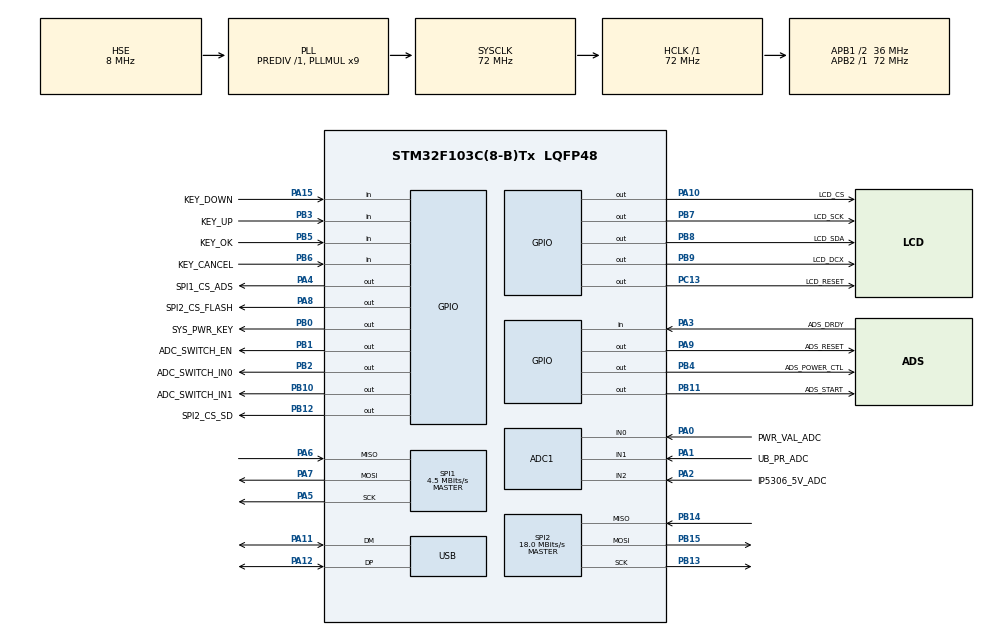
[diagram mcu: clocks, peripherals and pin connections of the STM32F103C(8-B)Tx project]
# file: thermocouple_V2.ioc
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ADC1.Channel-4\#ChannelRegularConversion=ADC_CHANNEL_0
ADC1.Channel-5\#ChannelRegularConversion=ADC_CHANNEL_1
ADC1.Channel-6\#ChannelRegularConversion=ADC_CHANNEL_2
ADC1.Channel-7\#ChannelRegularConversion=ADC_CHANNEL_TEMPSENSOR
ADC1.ContinuousConvMode=DISABLE
ADC1.DiscontinuousConvMode=ENABLE
ADC1.EnableRegularConversion=ENABLE
ADC1.NbrOfConversion=4
ADC1.NbrOfConversionFlag=1
ADC1.Rank-4\#ChannelRegularConversion=1
ADC1.Rank-5\#ChannelRegularConversion=2
ADC1.Rank-6\#ChannelRegularConversion=3
ADC1.Rank-7\#ChannelRegularConversion=4
ADC1.SamplingTime-4\#ChannelRegularConversion=ADC_SAMPLETIME_71CYCLES_5
ADC1.SamplingTime-5\#ChannelRegularConversion=ADC_SAMPLETIME_71CYCLES_5
ADC1.SamplingTime-6\#ChannelRegularConversion=ADC_SAMPLETIME_71CYCLES_5
ADC1.SamplingTime-7\#ChannelRegularConversion=ADC_SAMPLETIME_71CYCLES_5
ADC1.master=1
Mcu.Family=STM32F1
Mcu.Name=STM32F103C(8-B)Tx
Mcu.Package=LQFP48
NVIC.PriorityGroup=NVIC_PRIORITYGROUP_4
NVIC.TIM1_UP_IRQn=true\:0\:0\:false\:false\:true\:true\:true\:true
NVIC.USB_LP_CAN1_RX0_IRQn=true\:0\:0\:false\:false\:true\:false\:true\:true
PA0-WKUP.GPIO_Label=PWR_VAL_ADC
PA0-WKUP.Signal=ADCx_IN0
PA1.GPIO_Label=UB_PR_ADC
PA1.Signal=ADCx_IN1
PA10.GPIO_Label=LCD_CS
PA10.GPIO_PuPd=GPIO_PULLUP
PA10.GPIO_Speed=GPIO_SPEED_FREQ_HIGH
PA10.PinState=GPIO_PIN_SET
PA10.Signal=GPIO_Output
PA11.Mode=Device
PA11.Signal=USB_DM
PA12.Mode=Device
PA12.Signal=USB_DP
PA13.Mode=Serial_Wire
PA13.Signal=SYS_JTMS-SWDIO
PA14.Mode=Serial_Wire
PA14.Signal=SYS_JTCK-SWCLK
PA15.GPIO_Label=KEY_DOWN
PA15.GPIO_PuPd=GPIO_PULLUP
PA15.Signal=GPIO_Input
PA2.GPIO_Label=IP5306_5V_ADC
PA2.Signal=ADCx_IN2
PA3.GPIO_Label=ADS_DRDY
PA3.Signal=GPIO_Input
PA4.GPIO_Label=SPI1_CS_ADS
PA4.Signal=GPIO_Output
PA5.Mode=Full_Duplex_Master
PA5.Signal=SPI1_SCK
PA6.GPIO_PuPd=GPIO_NOPULL
PA6.Mode=Full_Duplex_Master
PA6.Signal=SPI1_MISO
PA7.Mode=Full_Duplex_Master
PA7.Signal=SPI1_MOSI
PA8.GPIO_Label=SPI2_CS_FLASH
PA8.GPIO_ModeDefaultOutputPP=GPIO_MODE_OUTPUT_PP
PA8.GPIO_PuPd=GPIO_PULLUP
PA8.GPIO_Speed=GPIO_SPEED_FREQ_HIGH
PA8.PinState=GPIO_PIN_SET
PA8.Signal=GPIO_Output
PA9.GPIO_Label=ADS_RESET
PA9.Signal=GPIO_Output
PB0.GPIO_Label=SYS_PWR_KEY
PB0.Signal=GPIO_Output
PB1.GPIO_Label=ADC_SWITCH_EN
PB1.GPIO_ModeDefaultOutputPP=GPIO_MODE_OUTPUT_PP
PB1.GPIO_PuPd=GPIO_PULLUP
PB1.GPIO_Speed=GPIO_SPEED_FREQ_LOW
PB1.Signal=GPIO_Output
PB10.GPIO_Label=ADC_SWITCH_IN1
PB10.Signal=GPIO_Output
PB11.GPIO_Label=ADS_START
PB11.Signal=GPIO_Output
PB12.GPIO_Label=SPI2_CS_SD
PB12.GPIO_ModeDefaultOutputPP=GPIO_MODE_OUTPUT_PP
PB12.GPIO_PuPd=GPIO_PULLUP
PB12.GPIO_Speed=GPIO_SPEED_FREQ_HIGH
PB12.PinState=GPIO_PIN_SET
PB12.Signal=GPIO_Output
PB13.Mode=Full_Duplex_Master
PB13.Signal=SPI2_SCK
PB14.Mode=Full_Duplex_Master
PB14.Signal=SPI2_MISO
PB15.Mode=Full_Duplex_Master
PB15.Signal=SPI2_MOSI
PB2.GPIO_Label=ADC_SWITCH_IN0
PB2.GPIO_PuPd=GPIO_PULLUP
PB2.Signal=GPIO_Output
PB3.GPIO_Label=KEY_UP
PB3.GPIO_PuPd=GPIO_PULLUP
PB3.Signal=GPIO_Input
PB4.GPIO_Label=ADS_POWER_CTL
PB4.Signal=GPIO_Output
PB5.GPIO_Label=KEY_OK
PB5.GPIO_PuPd=GPIO_PULLUP
PB5.Signal=GPIO_Input
PB6.GPIO_Label=KEY_CANCEL
PB6.GPIO_PuPd=GPIO_PULLUP
PB6.Signal=GPIO_Input
PB7.GPIO_Label=LCD_SCK
PB7.GPIO_PuPd=GPIO_PULLUP
PB7.GPIO_Speed=GPIO_SPEED_FREQ_HIGH
PB7.PinState=GPIO_PIN_SET
PB7.Signal=GPIO_Output
PB8.GPIO_Label=LCD_SDA
PB8.GPIO_PuPd=GPIO_PULLUP
PB8.GPIO_Speed=GPIO_SPEED_FREQ_HIGH
PB8.PinState=GPIO_PIN_SET
PB8.Signal=GPIO_Output
PB9.GPIO_Label=LCD_DCX
PB9.GPIO_PuPd=GPIO_PULLUP
PB9.GPIO_Speed=GPIO_SPEED_FREQ_HIGH
PB9.PinState=GPIO_PIN_SET
PB9.Signal=GPIO_Output
PC13-TAMPER-RTC.GPIO_Label=LCD_RESET
PC13-TAMPER-RTC.GPIO_PuPd=GPIO_PULLUP
PC13-TAMPER-RTC.GPIO_Speed=GPIO_SPEED_FREQ_HIGH
PC13-TAMPER-RTC.PinState=GPIO_PIN_SET
PC13-TAMPER-RTC.Signal=GPIO_Output
PD0-OSC_IN.Mode=HSE-External-Oscillator
PD0-OSC_IN.Signal=RCC_OSC_IN
PD1-OSC_OUT.Mode=HSE-External-Oscillator
PD1-OSC_OUT.Signal=RCC_OSC_OUT
ProjectManager.HeapSize=0x200
ProjectManager.StackSize=0x400
ProjectManager.TargetToolchain=STM32CubeIDE
RCC.ADCPresc=RCC_ADCPCLK2_DIV6
RCC.AHBFreq_Value=72000000
RCC.APB1CLKDivider=RCC_HCLK_DIV2
RCC.APB1Freq_Value=36000000
RCC.APB1TimFreq_Value=72000000
RCC.APB2Freq_Value=72000000
RCC.APB2TimFreq_Value=72000000
RCC.HCLKFreq_Value=72000000
RCC.PLLMUL=RCC_PLL_MUL9
RCC.PLLSourceVirtual=RCC_PLLSOURCE_HSE
RCC.SYSCLKFreq_VALUE=72000000
RCC.SYSCLKSource=RCC_SYSCLKSOURCE_PLLCLK
RCC.USBFreq_Value=48000000
RCC.USBPrescaler=RCC_USBCLKSOURCE_PLL_DIV1_5
SH.ADCx_IN0.0=ADC1_IN0,IN0
SH.ADCx_IN1.0=ADC1_IN1,IN1
SH.ADCx_IN2.0=ADC1_IN2,IN2
SPI1.BaudRatePrescaler=SPI_BAUDRATEPRESCALER_16
SPI1.CLKPhase=SPI_PHASE_2EDGE
SPI1.CalculateBaudRate=4.5 MBits/s
SPI1.Direction=SPI_DIRECTION_2LINES
SPI1.Mode=SPI_MODE_MASTER
SPI1.VirtualType=VM_MASTER
SPI2.BaudRatePrescaler=SPI_BAUDRATEPRESCALER_2
SPI2.CalculateBaudRate=18.0 MBits/s
SPI2.DataSize=SPI_DATASIZE_8BIT
SPI2.Direction=SPI_DIRECTION_2LINES
SPI2.Mode=SPI_MODE_MASTER
SPI2.VirtualType=VM_MASTER
TIM1.AutoReloadPreload=TIM_AUTORELOAD_PRELOAD_ENABLE
TIM1.Period=5000
TIM1.Prescaler=14399
USB_DEVICE.APP_RX_DATA_SIZE=64
USB_DEVICE.APP_TX_DATA_SIZE=64
USB_DEVICE.CLASS_NAME_FS=CDC
USB_DEVICE.USBD_MAX_NUM_CONFIGURATION=1
USB_DEVICE.USBD_MAX_NUM_INTERFACES=1
USB_DEVICE.USBD_MAX_STR_DESC_SIZ=512
USB_DEVICE.VirtualMode=Cdc
USB_DEVICE.VirtualModeFS=Cdc_FS
VP_ADC1_TempSens_Input.Mode=IN-TempSens
VP_TIM1_VS_ClockSourceINT.Mode=Internal
VP_USB_DEVICE_VS_USB_DEVICE_CDC_FS.Mode=CDC_FS
board=custom

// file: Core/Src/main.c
/* USER CODE BEGIN Header */
/**
  ******************************************************************************
  * @file           : main.c
  * @brief          : Main program body
  ******************************************************************************
  * @attention
  *
  * Copyright (c) 2022 STMicroelectronics.
  * All rights reserved.
  *
  * This software is licensed under terms that can be found in the LICENSE file
  * in the root directory of this software component.
  * If no LICENSE file comes with this software, it is provided AS-IS.
  *
  ******************************************************************************
  */
/* USER CODE END Header */
#include "main.h"
#include "adc.h"
#include "spi.h"
#include "tim.h"
#include "usb_device.h"
#include "gpio.h"

/* USER CODE BEGIN Includes */
#include "lcd.h"
#include "lvgl.h"
#include "lv_port_disp.h"
#include "lv_port_indev.h"
#include "ui.h"

#include "ADS1262.h"
#include "S25FL512.h"
#include "sd.h"
#include "usbd_cdc_if.h"

#include "file.h"
#include <stdio.h>
#include <stdarg.h>
//#include "lv_examples.h"
/* USER CODE END Includes */

/* USER CODE BEGIN PM */
uint8_t Time_Flag_Is_Get=0;
extern lv_indev_t * indev_keypad;
/* USER CODE END PM */

void SystemClock_Config(void);
/* USER CODE BEGIN PFP */
void System_init(void);
/* USER CODE END PFP */

/* USER CODE BEGIN 0 */

void My_sprintf ( const char * format, ... )
{
  char buffer[32];
  va_list args;
  va_start (args, format);
  vsnprintf (buffer,256,format, args);
  va_end (args);
}

/* USER CODE END 0 */

int main(void)
{

  /* MCU Configuration--------------------------------------------------------*/

  /* Reset of all peripherals, Initializes the Flash interface and the Systick. */
  HAL_Init();

  /* Configure the system clock */
  SystemClock_Config();

  /* Initialize all configured peripherals */
  MX_GPIO_Init();
  MX_ADC1_Init();
  MX_SPI1_Init();
  MX_SPI2_Init();
  MX_USB_DEVICE_Init();
  MX_TIM1_Init();
  /* USER CODE BEGIN 2 */
  TIM1_Start_Working(1);

  //init the system
  System_init();

  /* USER CODE END 2 */

  /* Infinite loop */
  /* USER CODE BEGIN WHILE */

	ui_init();

	while (1)
	{
    /* USER CODE END WHILE */

    /* USER CODE BEGIN 3 */

		ADS1262_Get_ADC();
		ADC_Get_Voltage();

		//time base,set by customer,can be 1s 2s 5s 10s
		if(Time_Flag_Is_Get)
		{
			Time_Flag_Is_Get = 0;
			ui_table_data_change();
		}

		//LVGL system function
		lv_task_handler();
	}
  /* USER CODE END 3 */
}

void SystemClock_Config(void)
{
  RCC_OscInitTypeDef RCC_OscInitStruct = {0};
  RCC_ClkInitTypeDef RCC_ClkInitStruct = {0};
  RCC_PeriphCLKInitTypeDef PeriphClkInit = {0};

  /** Initializes the RCC Oscillators according to the specified parameters
  * in the RCC_OscInitTypeDef structure.
  */
  RCC_OscInitStruct.OscillatorType = RCC_OSCILLATORTYPE_HSE;
  RCC_OscInitStruct.HSEState = RCC_HSE_ON;
  RCC_OscInitStruct.HSEPredivValue = RCC_HSE_PREDIV_DIV1;
  RCC_OscInitStruct.HSIState = RCC_HSI_ON;
  RCC_OscInitStruct.PLL.PLLState = RCC_PLL_ON;
  RCC_OscInitStruct.PLL.PLLSource = RCC_PLLSOURCE_HSE;
  RCC_OscInitStruct.PLL.PLLMUL = RCC_PLL_MUL9;
  if (HAL_RCC_OscConfig(&RCC_OscInitStruct) != HAL_OK)
  {
    Error_Handler();
  }

  /** Initializes the CPU, AHB and APB buses clocks
  */
  RCC_ClkInitStruct.ClockType = RCC_CLOCKTYPE_HCLK|RCC_CLOCKTYPE_SYSCLK
                              |RCC_CLOCKTYPE_PCLK1|RCC_CLOCKTYPE_PCLK2;
  RCC_ClkInitStruct.SYSCLKSource = RCC_SYSCLKSOURCE_PLLCLK;
  RCC_ClkInitStruct.AHBCLKDivider = RCC_SYSCLK_DIV1;
  RCC_ClkInitStruct.APB1CLKDivider = RCC_HCLK_DIV2;
  RCC_ClkInitStruct.APB2CLKDivider = RCC_HCLK_DIV1;

  if (HAL_RCC_ClockConfig(&RCC_ClkInitStruct, FLASH_LATENCY_2) != HAL_OK)
  {
    Error_Handler();
  }
  PeriphClkInit.PeriphClockSelection = RCC_PERIPHCLK_ADC|RCC_PERIPHCLK_USB;
  PeriphClkInit.AdcClockSelection = RCC_ADCPCLK2_DIV6;
  PeriphClkInit.UsbClockSelection = RCC_USBCLKSOURCE_PLL_DIV1_5;
  if (HAL_RCCEx_PeriphCLKConfig(&PeriphClkInit) != HAL_OK)
  {
    Error_Handler();
  }
}

/* USER CODE BEGIN 4 */

void System_init(void)
{
	uint8_t buffer[20]={0};
	uint32_t SD_SectorCount_Num = 0;

	//LCD

	LCD_ST7735S_CPT144_Initial();
	LCD_DrawLine(2, 0, 2, 126, YELLOW);
	LCD_ShowString(5,0,100,12,12,(uint8_t*)"LCD Init OK!",YELLOW,BLACK);
	HAL_Delay(200);

	//ADS1262

	if( 0 == ADS1262_Init() )
		LCD_ShowString(5,13,100,12,12,(uint8_t*)"ADS1262 Init OK!",YELLOW,BLACK);
	else
		LCD_ShowString(5,13,100,12,12,(uint8_t*)"ADS1262 Init FAIL!",YELLOW,BLACK);
	HAL_Delay(200);

	//SPI FLASH init

	if( S25FL512 == S25FLXX_Init() )
		LCD_ShowString(5,26,100,12,12,(uint8_t*)"S25FL512 Init OK!",YELLOW,BLACK);
	else
		LCD_ShowString(5,26,100,12,12,(uint8_t*)"S25FL512 Init FAIL!",YELLOW,BLACK);
	HAL_Delay(200);

	//SPI FLASH Read Test

//	LCD_ShowString(5,39,100,12,12,(uint8_t*)"S25FL512 Erase...",YELLOW,BLACK);
//	S25FLXX_Erase_Chip();
//	S25FLXX_Write_NoCheck((uint8_t*)"Read Test OK!",0,sizeof("Read Test OK!"));
	S25FLXX_Read(buffer,0,sizeof("Read Test OK!"));   //读取flash
	LCD_ShowString(5,39,100,12,12,buffer,YELLOW,BLACK);
	HAL_Delay(200);

	//SD Card

	if( !SD_Initialize() )
	{
		SD_SectorCount_Num = SD_GetSectorCount();
		LCD_ShowString(5,52,100,12,12,(uint8_t*)"SD Card Init OK!",YELLOW,BLACK);
		LCD_ShowString(5,65,100,12,12,(uint8_t*)"Size(MB):",YELLOW,BLACK);
		LCD_ShowNum(54,65, SD_SectorCount_Num>>11 ,6,12,0,YELLOW,BLACK);
	}
	else
		LCD_ShowString(5,52,100,12,12,(uint8_t*)"SD Card Init FAIL!",YELLOW,BLACK);
	HAL_Delay(200);

	//LVGL

	lv_init();
	lv_port_disp_init();
	lv_port_indev_init();
	LCD_ShowString(5,78,100,12,12,(uint8_t*)"LVGL Init OK!",YELLOW,BLACK);
	LCD_ShowString(5,91,100,12,12,(uint8_t*)"UI loading...",YELLOW,BLACK);

	HAL_Delay(2000);

}

/* USER CODE END 4 */

void Error_Handler(void)
{
  __disable_irq();
  while (1)
  {
  }
}
